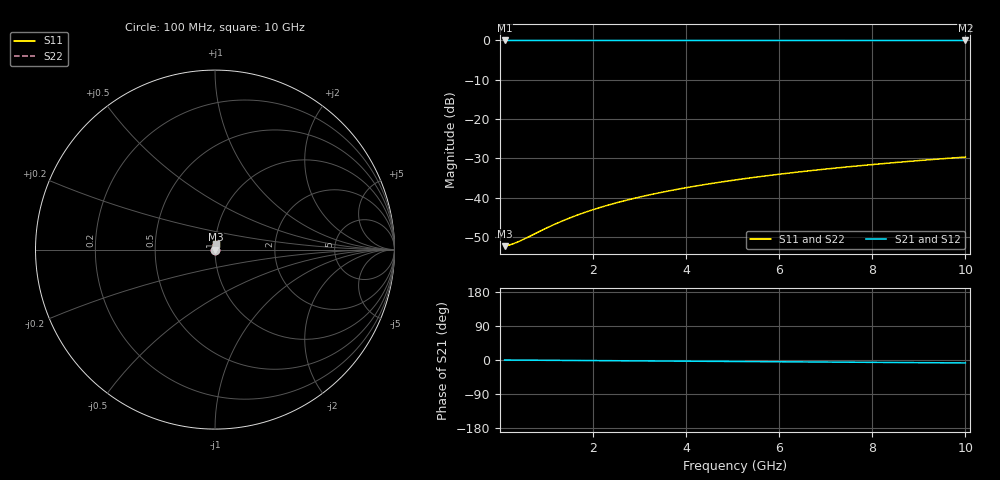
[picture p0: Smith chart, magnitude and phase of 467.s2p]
# Hz S RI R 50.00
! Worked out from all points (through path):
!   100 points, 100 MHz to 10 GHz, reference 50 ohm
!   highest |S21| = -0.02 dB at 100 MHz (marker M1); lowest = 0.0 dB at 10 GHz (marker M2)
!   group delay of S21, straight-line fit = 2.15 ps
!   lowest |S11| = -52.3 dB at 100 MHz (marker M3), VSWR 1.00, Z = 50.2 + j0.0327 ohm
!   |S11| at or under -10 dB: start of sweep to end of sweep
!   |S22| runs from -52.3 to -29.7 dB; largest |S21 - S12| = 0
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1e8  0.00239 0.000325  0.9976 -0.00135  0.9976 -0.00135  0.00239 0.000325
2e8  0.00241 0.000651  0.9976 -0.00269  0.9976 -0.00269  0.00241 0.000651
3e8  0.00242 0.000976  0.9976 -0.00404  0.9976 -0.00404  0.00242 0.000976
4e8  0.00244 0.0013  0.9975 -0.00539  0.9975 -0.00539  0.00244 0.0013
6e8  0.00246 0.00195  0.9975 -0.00808  0.9975 -0.00808  0.00246 0.00195
1e9  0.00251 0.00325  0.9974 -0.0135  0.9974 -0.0135  0.00251 0.00325
1.2e9  0.00254 0.0039  0.9974 -0.0162  0.9974 -0.0162  0.00254 0.0039
1.5e9  0.00258 0.00488  0.9973 -0.0202  0.9973 -0.0202  0.00258 0.00488
1.8e9  0.00264 0.00585  0.9972 -0.0242  0.9972 -0.0242  0.00264 0.00585
2.1e9  0.0027 0.00683  0.9971 -0.0283  0.9971 -0.0283  0.0027 0.00683
2.5e9  0.00279 0.00812  0.9969 -0.0337  0.9969 -0.0337  0.00279 0.00812
2.9e9  0.00289 0.00942  0.9966 -0.039  0.9966 -0.039  0.00289 0.00942
3.4e9  0.00304 0.011  0.9963 -0.0458  0.9963 -0.0458  0.00304 0.011
3.8e9  0.00318 0.0123  0.996 -0.0511  0.996 -0.0511  0.00318 0.0123
4.2e9  0.00333 0.0136  0.9957 -0.0565  0.9957 -0.0565  0.00333 0.0136
4.6e9  0.00349 0.0149  0.9954 -0.0619  0.9954 -0.0619  0.00349 0.0149
5.1e9  0.00371 0.0165  0.9949 -0.0686  0.9949 -0.0686  0.00371 0.0165
5.9e9  0.00411 0.0191  0.994 -0.0794  0.994 -0.0794  0.00411 0.0191
6.7e9  0.00457 0.0217  0.993 -0.0901  0.993 -0.0901  0.00457 0.0217
7.5e9  0.00508 0.0242  0.9919 -0.1008  0.9919 -0.1008  0.00508 0.0242
8.4e9  0.00572 0.0271  0.9905 -0.1129  0.9905 -0.1129  0.00572 0.0271
1e10  0.00704 0.0321  0.9876 -0.1342  0.9876 -0.1342  0.00704 0.0321
